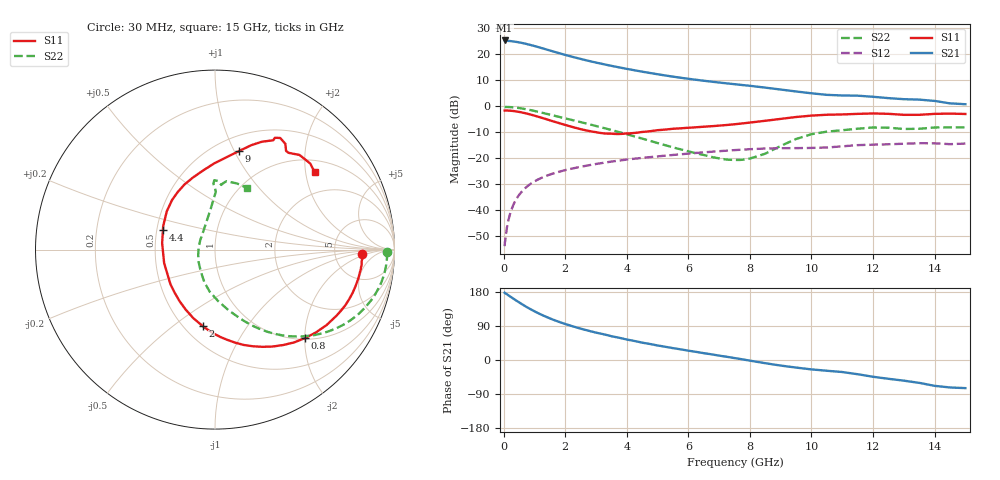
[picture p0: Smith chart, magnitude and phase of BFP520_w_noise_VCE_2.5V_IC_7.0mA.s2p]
! Infineon Technologies  Discrete & RF Semiconductors
! BFP520
! VCE =  2.5 V,  IC =  7.0 mA
! Common Emitter S-Parameters:  Oct 2015
# GHz  S  MA  R  50
!  f  S11  S21  S12  S22
! GHz  MAG  ANG  MAG  ANG  MAG  ANG  MAG  ANG
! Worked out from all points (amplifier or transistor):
!   109 points, 30 MHz to 15 GHz, reference 50 ohm
!   highest |S21| = 25.3 dB at 30 MHz (marker M1)
!   |S21| within 3 dB of that: start of sweep to 1.252 GHz
!   unconditionally stable (mu >= 1): start of sweep to 31 MHz; 3.819 GHz to end of sweep
!   at 450 MHz: K = 0.25, MSG = 29.9 dB, |S12| = -35.1 dB
!   at 4 GHz: K = 1.02, MAG = 16.6 dB, |S12| = -20.6 dB
!   at 15 GHz: K = 1.34, MAG = 4.1 dB, |S12| = -14.5 dB
!   lowest NFmin = 1.34 dB at 900 MHz
!   S11 on the Smith chart (normalised r, x): 30 MHz: 10, -1; 800 MHz: 1.03, -2.01; 2 GHz: 0.62, -0.65; 4.4 GHz: 0.54, +0.13; 9 GHz: 0.65, +1.05; 15 GHz: 1.31, +2.25
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0.03  0.8209 -1.6  18.34 177.5  0.002 38.8  0.9557 -0.8
0.05  0.8219 -2.5  18.15 175.9  0.0025 51.0  0.9577 -1.5
0.25  0.8091 -14.5  17.75 165.4  0.01 73.9  0.9505 -9.0
0.45  0.7803 -25.8  17.05 154.7  0.0176 72.8  0.9244 -16.1
0.6  0.7505 -34.1  16.4 147.0  0.0229 70.3  0.896 -21.2
0.8  0.7034 -44.5  15.37 137.3  0.0295 66.7  0.8519 -27.5
1  0.6532 -54.5  14.33 128.5  0.0354 63.3  0.8037 -33.2
1.3  0.5785 -68.6  12.74 116.8  0.0432 58.6  0.7307 -40.7
1.6  0.5086 -82.0  11.29 106.6  0.0501 54.7  0.6605 -47.1
2  0.4326 -98.9  9.678 95.0  0.0583 50.5  0.579 -54.3
2.2  0.4006 -107.6  8.979 89.9  0.0621 48.6  0.542 -57.6
2.6  0.3481 -124.7  7.812 80.5  0.0694 45.2  0.4741 -63.6
3  0.3141 -142.3  6.876 72.2  0.0766 41.9  0.4127 -69.5
3.5  0.2932 -165.2  5.947 62.7  0.0852 37.7  0.3454 -77.5
4.4  0.3107 158.9  4.709 47.6  0.0989 30.3  0.2453 -94.8
5.1  0.3464 139.4  4.009 37.0  0.1086 25.0  0.1866 -109.1
6  0.382 122.9  3.35 24.6  0.1213 18.4  0.1342 -128.2
7.6  0.4522 96.8  2.598 3.8  0.1428 5.2  0.0915 168.7
9  0.5659 76.2  2.08 -14.7  0.1542 -7.8  0.1707 105.1
10.5  0.6799 63.2  1.643 -28.4  0.1591 -16.3  0.3215 89.2
13  0.6771 54.2  1.356 -54.5  0.1878 -36.1  0.3617 84.4
15  0.7034 37.9  1.084 -74.2  0.1893 -51.7  0.3867 62.8
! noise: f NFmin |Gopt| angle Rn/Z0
0.45  1.35  0.39  2  0.3
0.9  1.34  0.38  9  0.32
1.9  1.57  0.33  19  0.27
2.4  1.57  0.29  30  0.27
3.5  1.5  0.27  54  0.26
